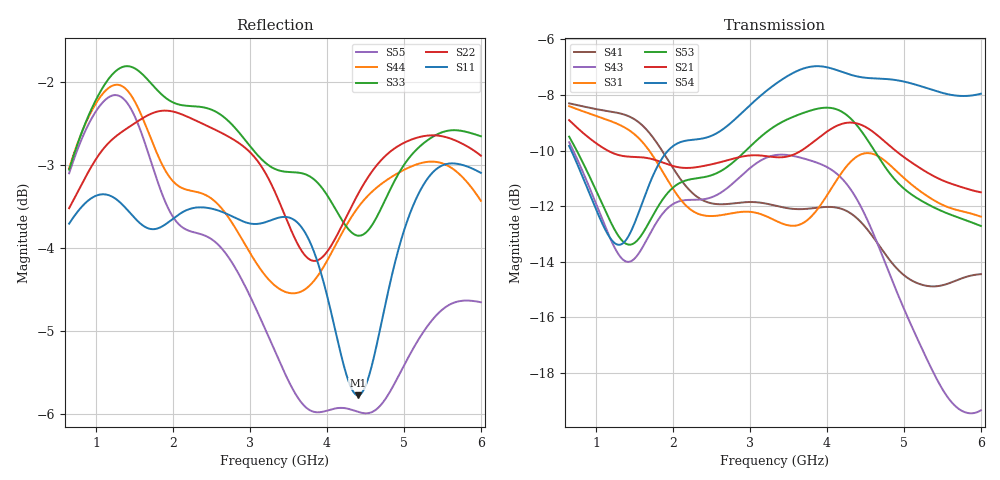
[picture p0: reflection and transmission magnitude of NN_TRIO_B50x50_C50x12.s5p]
! IGNION VIRTUAL ANTENNA LIBRARY
! NN_TRIO_B50x50_C50x12
! Virtual Antenna™ TRIO mXTEND™: NN03-310 30.0mm x 3.0mm x 1.0mm
! https://ignion.io/product/trio-mxtend/
! Board: 50mm x 50mm
! Clearance Area: 50mm x 12mm
! Feeding line: straight line; 9mm x 1mm
! Applications: Smartphone, Fleet management, IoT
! Frequency range 0.65GHz to 6GHz, step ~5MHz
! Number of ports 5
! This product and its use are protected by at least one or more of the following patents and
! patent applications PAT. US 2020/0176855 A1; WO 2019/008171 A1; and other domestic and international
! patents pending. Additional information about patents related to this product is available at
! https://ignion.io/files/Patent-list-NN.pdf, all rights reserved. Copyright, Ignion 2021.
! Need more help? Your platform is much different than these examples in the manual? Use our
! Fast Track service (https://ignion.io/fast-track/), for free, and get a personalized antenna design in
! just 24 hours.
! Touchstone port 1 = CST MWS port 1 ("Series Feeding Port 1")
! Touchstone port 2 = CST MWS port 2 ("Series in-Trio Port 1")
! Touchstone port 3 = CST MWS port 3 ("Series in-Trio Port 2")
! Touchstone port 4 = CST MWS port 4 ("Series Port in Feeding line of Port 2")
! Touchstone port 5 = CST MWS port 5 ("Series Feeding Port 2")
! CST MICROWAVE STUDIO 2019
# GHz S MA R 50
! Nport = 5
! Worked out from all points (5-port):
!   1001 points, 650 MHz to 6 GHz, reference 50 ohm
!   strongest paths, dB at 650 MHz, 1.988 GHz, 3.325 GHz, 4.662 GHz, 6 GHz:
!     S54: -9.8, -9.9, -7.6, -7.4, -8.0
!     S21: -8.9, -10.5, -10.2, -9.5, -11.5
!     S53: -9.5, -11.4, -9.1, -10.2, -12.7
!     S31: -8.4, -11.3, -12.5, -10.2, -12.4
!     S43: -9.7, -12.0, -10.2, -13.4, -19.4
!     S41: -8.3, -10.6, -12.0, -13.4, -14.5
!   lowest |S11| = -5.8 dB at 4.4 GHz (marker M1), VSWR 3.12, Z = 134 - j51.4 ohm
!   |S11| at or under -10 dB: nowhere
